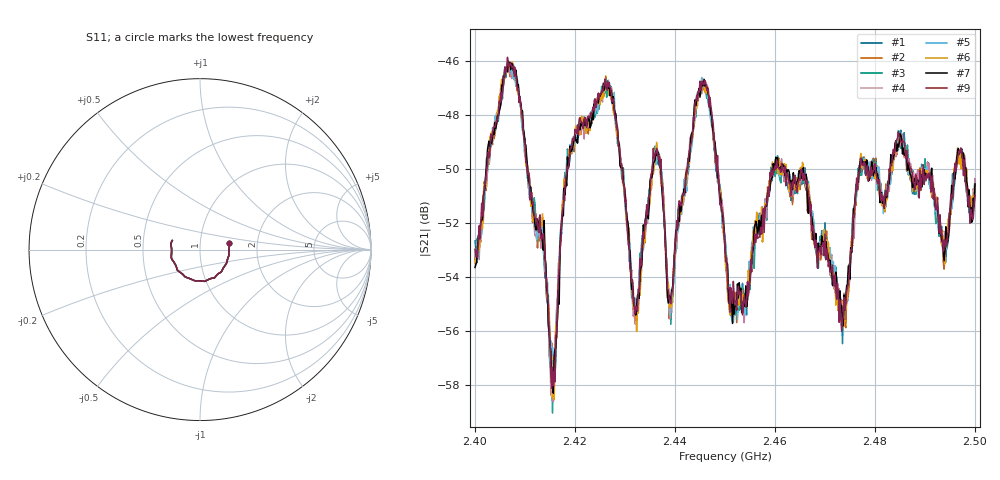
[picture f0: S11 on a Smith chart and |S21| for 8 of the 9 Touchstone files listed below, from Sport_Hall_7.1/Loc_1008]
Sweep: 2.4 GHz to 2.5 GHz
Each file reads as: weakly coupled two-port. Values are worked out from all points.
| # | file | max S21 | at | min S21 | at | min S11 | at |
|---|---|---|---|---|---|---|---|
| 1 | Lab_139_1Ch1.s2p | -46.12 dB | 2.4077 GHz | -58.3 dB | 2.4157 GHz | -15.6 dB | 2.4928 GHz |
| 2 | Lab_139_2Ch1.s2p | -46.18 dB | 2.4065 GHz | -57.8 dB | 2.4152 GHz | -15.6 dB | 2.4928 GHz |
| 3 | Lab_139_3Ch1.s2p | -46.02 dB | 2.4065 GHz | -59.0 dB | 2.4155 GHz | -15.6 dB | 2.4932 GHz |
| 4 | Lab_139_4Ch1.s2p | -46.12 dB | 2.4065 GHz | -58.6 dB | 2.4157 GHz | -15.6 dB | 2.4928 GHz |
| 5 | Lab_139_5Ch1.s2p | -46.07 dB | 2.4068 GHz | -57.7 dB | 2.4158 GHz | -15.6 dB | 2.4928 GHz |
| 6 | Lab_139_6Ch1.s2p | -46.03 dB | 2.4075 GHz | -58.5 dB | 2.4158 GHz | -15.6 dB | 2.4928 GHz |
| 7 | Lab_139_7Ch1.s2p | -45.99 dB | 2.4067 GHz | -58.3 dB | 2.4157 GHz | -15.6 dB | 2.4928 GHz |
| 8 | Lab_139_8Ch1.s2p | -45.91 dB | 2.4065 GHz | -59.0 dB | 2.4155 GHz | -15.6 dB | 2.4928 GHz |
| 9 | Lab_139_9Ch1.s2p | -45.85 dB | 2.4065 GHz | -58.1 dB | 2.4153 GHz | -15.6 dB | 2.4932 GHz |
